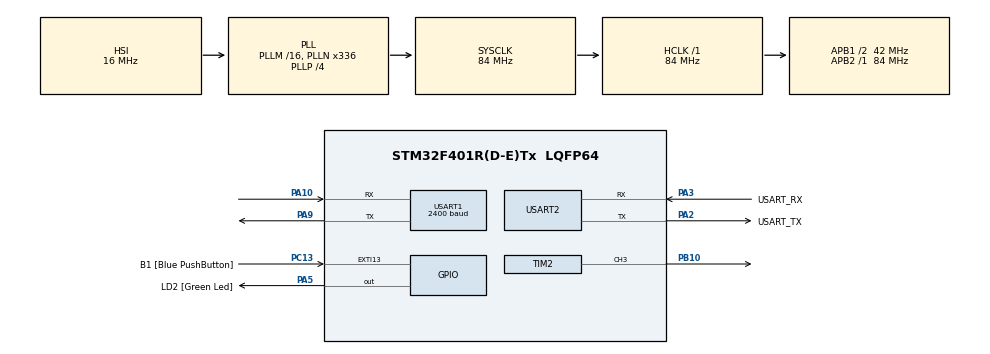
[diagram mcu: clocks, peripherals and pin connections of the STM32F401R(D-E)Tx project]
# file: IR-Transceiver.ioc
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Mcu.Family=STM32F4
Mcu.Name=STM32F401R(D-E)Tx
Mcu.Package=LQFP64
NVIC.PriorityGroup=NVIC_PRIORITYGROUP_0
NVIC.TIM1_TRG_COM_TIM11_IRQn=true\:0\:0\:false\:false\:true\:true\:true
NVIC.USART1_IRQn=true\:0\:0\:false\:false\:true\:true\:true
NVIC.USART2_IRQn=true\:0\:0\:false\:false\:true\:true\:true
PA10.Mode=Asynchronous
PA10.Signal=USART1_RX
PA13.GPIO_Label=TMS
PA13.Mode=Serial_Wire
PA13.Signal=SYS_JTMS-SWDIO
PA14.GPIO_Label=TCK
PA14.Mode=Serial_Wire
PA14.Signal=SYS_JTCK-SWCLK
PA2.GPIO_Label=USART_TX
PA2.GPIO_Mode=GPIO_MODE_AF_PP
PA2.GPIO_PuPd=GPIO_NOPULL
PA2.GPIO_Speed=GPIO_SPEED_FREQ_LOW
PA2.Mode=Asynchronous
PA2.Signal=USART2_TX
PA3.GPIO_Label=USART_RX
PA3.GPIO_Mode=GPIO_MODE_AF_PP
PA3.GPIO_PuPd=GPIO_NOPULL
PA3.GPIO_Speed=GPIO_SPEED_FREQ_LOW
PA3.Mode=Asynchronous
PA3.Signal=USART2_RX
PA5.GPIO_Label=LD2 [Green Led]
PA5.GPIO_Mode=GPIO_MODE_OUTPUT_PP
PA5.GPIO_PuPd=GPIO_NOPULL
PA5.GPIO_Speed=GPIO_SPEED_FREQ_LOW
PA5.Signal=GPIO_Output
PA9.Mode=Asynchronous
PA9.Signal=USART1_TX
PB10.Signal=S_TIM2_CH3
PB3.GPIO_Label=SWO
PB3.Signal=SYS_JTDO-SWO
PC13-ANTI_TAMP.GPIO_Label=B1 [Blue PushButton]
PC13-ANTI_TAMP.GPIO_ModeDefaultEXTI=GPIO_MODE_IT_FALLING
PC13-ANTI_TAMP.GPIO_PuPd=GPIO_NOPULL
PC13-ANTI_TAMP.Signal=GPXTI13
PC14-OSC32_IN.Mode=LSE-External-Oscillator
PC14-OSC32_IN.Signal=RCC_OSC32_IN
PC15-OSC32_OUT.Mode=LSE-External-Oscillator
PC15-OSC32_OUT.Signal=RCC_OSC32_OUT
PH0\ -\ OSC_IN.Mode=HSE-External-Clock-Source
PH0\ -\ OSC_IN.Signal=RCC_OSC_IN
PH1\ -\ OSC_OUT.Mode=HSE-External-Clock-Source
PH1\ -\ OSC_OUT.Signal=RCC_OSC_OUT
ProjectManager.HeapSize=0x200
ProjectManager.StackSize=0x400
ProjectManager.TargetToolchain=STM32CubeIDE
RCC.48MHZClocksFreq_Value=48000000
RCC.AHBFreq_Value=84000000
RCC.APB1CLKDivider=RCC_HCLK_DIV2
RCC.APB1Freq_Value=42000000
RCC.APB1TimFreq_Value=84000000
RCC.APB2Freq_Value=84000000
RCC.APB2TimFreq_Value=84000000
RCC.CortexFreq_Value=84000000
RCC.HCLKFreq_Value=84000000
RCC.HSE_VALUE=8000000
RCC.HSI_VALUE=16000000
RCC.PLLN=336
RCC.PLLP=RCC_PLLP_DIV4
RCC.PLLQ=7
RCC.SYSCLKFreq_VALUE=84000000
RCC.SYSCLKSource=RCC_SYSCLKSOURCE_PLLCLK
RCC.VCOOutputFreq_Value=336000000
SH.S_TIM2_CH3.0=TIM2_CH3,PWM Generation3 CH3
TIM11.Period=999
TIM11.Prescaler=34
TIM2.Channel-PWM\ Generation3\ CH3=TIM_CHANNEL_3
TIM2.Period=221-1
TIM2.Prescaler=10-1
TIM2.Pulse-PWM\ Generation3\ CH3=110-1
USART1.BaudRate=2400
USART1.VirtualMode=VM_ASYNC
USART2.VirtualMode=VM_ASYNC
VP_TIM11_VS_ClockSourceINT.Mode=Enable_Timer
VP_TIM2_VS_ClockSourceINT.Mode=Internal
board=NUCLEO-F401RE

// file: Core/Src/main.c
/* USER CODE BEGIN Header */
/**
 ******************************************************************************
 * @file           : main.c
 * @brief          : Transceiver for the infra red communication
 * RECEIVER:
 * - call HAL_UART_Receive_IT to enable to wait for a character
 * - when a char is received, the callback is called: here we start
 * the transmission to the UART connected to the PC
 *
 * TRANSMITTER:
 * > TIM2 channel 3: linked to the Infra-Red led; generates a modulated signal at 38kHz
 * > TIM11: used to follow the given baudrate (2400 Hz -> 2400 bit/s)
 * - start the TIM11 timer to start the transmission of chars
 * - for each byte:
 * 		. wait until the previous byte has been transmitted (wait for "sending" flag to be resetted)
 * 		. set the sending flag, set the bit index to -1
 * 		. following the baudrate, send the byte using the UART protocol:
 * 			* send start bit[modulated],
 * 			* for each bit, if it is low modulates, otherwise led stays down;
 * 			* sends the stop bit (led stays down);
 * 			* at the next cycle resets the "sending" flag;
 *
 ******************************************************************************
 * @attention
 *
 * <h2><center>&copy; Copyright (c) 2021 STMicroelectronics.
 * All rights reserved.</center></h2>
 *
 * This software component is licensed by ST under BSD 3-Clause license,
 * the "License"; You may not use this file except in compliance with the
 * License. You may obtain a copy of the License at:
 *                        opensource.org/licenses/BSD-3-Clause
 *
 ******************************************************************************
 */
/* USER CODE END Header */
#include "main.h"

/* USER CODE BEGIN Includes */
#include <string.h>
/* USER CODE END Includes */

TIM_HandleTypeDef htim2;
TIM_HandleTypeDef htim11;

UART_HandleTypeDef huart1;
UART_HandleTypeDef huart2;

/* USER CODE BEGIN PV */
//// TRANSMITTER PART
int iBit = 9; // starting in "don't send anything" mode
uint8_t byteToSend;
uint8_t sending = 0;
char *str = "Fare o non fare, non c'è provare\r\n";

//// RECEIVER PART
char data;
/* USER CODE END PV */

void SystemClock_Config(void);
static void MX_GPIO_Init(void);
static void MX_USART2_UART_Init(void);
static void MX_TIM2_Init(void);
static void MX_TIM11_Init(void);
static void MX_USART1_UART_Init(void);
/* USER CODE BEGIN PFP */
void sendString(char *str);
void sendByte(uint8_t byte);
/* USER CODE END PFP */

int main(void) {

	/* MCU Configuration--------------------------------------------------------*/

	/* Reset of all peripherals, Initializes the Flash interface and the Systick. */
	HAL_Init();

	/* Configure the system clock */
	SystemClock_Config();

	/* Initialize all configured peripherals */
	MX_GPIO_Init();
	MX_USART2_UART_Init();
	MX_TIM2_Init();
	MX_TIM11_Init();
	MX_USART1_UART_Init();
	/* USER CODE BEGIN 2 */
	// Rx: telling the uart to take the data received, store it and call the callback
	HAL_UART_Receive_IT(&huart1, &data, 1);

	// Tx: Starting the timer in order to send the data at the given baudrate
	HAL_TIM_Base_Start_IT(&htim11);
	/* USER CODE END 2 */

	/* Infinite loop */
	/* USER CODE BEGIN WHILE */
	while (1) {
		sendString(str);
		HAL_Delay(500);
		/* USER CODE END WHILE */

	}
}

void SystemClock_Config(void) {
	RCC_OscInitTypeDef RCC_OscInitStruct = { 0 };
	RCC_ClkInitTypeDef RCC_ClkInitStruct = { 0 };

	/** Configure the main internal regulator output voltage
	 */
	__HAL_RCC_PWR_CLK_ENABLE();
	__HAL_PWR_VOLTAGESCALING_CONFIG(PWR_REGULATOR_VOLTAGE_SCALE2);
	/** Initializes the RCC Oscillators according to the specified parameters
	 * in the RCC_OscInitTypeDef structure.
	 */
	RCC_OscInitStruct.OscillatorType = RCC_OSCILLATORTYPE_HSI;
	RCC_OscInitStruct.HSIState = RCC_HSI_ON;
	RCC_OscInitStruct.HSICalibrationValue = RCC_HSICALIBRATION_DEFAULT;
	RCC_OscInitStruct.PLL.PLLState = RCC_PLL_ON;
	RCC_OscInitStruct.PLL.PLLSource = RCC_PLLSOURCE_HSI;
	RCC_OscInitStruct.PLL.PLLM = 16;
	RCC_OscInitStruct.PLL.PLLN = 336;
	RCC_OscInitStruct.PLL.PLLP = RCC_PLLP_DIV4;
	RCC_OscInitStruct.PLL.PLLQ = 7;
	if (HAL_RCC_OscConfig(&RCC_OscInitStruct) != HAL_OK) {
		Error_Handler();
	}
	/** Initializes the CPU, AHB and APB buses clocks
	 */
	RCC_ClkInitStruct.ClockType = RCC_CLOCKTYPE_HCLK | RCC_CLOCKTYPE_SYSCLK
			| RCC_CLOCKTYPE_PCLK1 | RCC_CLOCKTYPE_PCLK2;
	RCC_ClkInitStruct.SYSCLKSource = RCC_SYSCLKSOURCE_PLLCLK;
	RCC_ClkInitStruct.AHBCLKDivider = RCC_SYSCLK_DIV1;
	RCC_ClkInitStruct.APB1CLKDivider = RCC_HCLK_DIV2;
	RCC_ClkInitStruct.APB2CLKDivider = RCC_HCLK_DIV1;

	if (HAL_RCC_ClockConfig(&RCC_ClkInitStruct, FLASH_LATENCY_2) != HAL_OK) {
		Error_Handler();
	}
}

static void MX_TIM2_Init(void) {

	TIM_ClockConfigTypeDef sClockSourceConfig = { 0 };
	TIM_MasterConfigTypeDef sMasterConfig = { 0 };
	TIM_OC_InitTypeDef sConfigOC = { 0 };

	htim2.Instance = TIM2;
	htim2.Init.Prescaler = 10 - 1;
	htim2.Init.CounterMode = TIM_COUNTERMODE_UP;
	htim2.Init.Period = 221 - 1;
	htim2.Init.ClockDivision = TIM_CLOCKDIVISION_DIV1;
	htim2.Init.AutoReloadPreload = TIM_AUTORELOAD_PRELOAD_DISABLE;
	if (HAL_TIM_Base_Init(&htim2) != HAL_OK) {
		Error_Handler();
	}
	sClockSourceConfig.ClockSource = TIM_CLOCKSOURCE_INTERNAL;
	if (HAL_TIM_ConfigClockSource(&htim2, &sClockSourceConfig) != HAL_OK) {
		Error_Handler();
	}
	if (HAL_TIM_PWM_Init(&htim2) != HAL_OK) {
		Error_Handler();
	}
	sMasterConfig.MasterOutputTrigger = TIM_TRGO_RESET;
	sMasterConfig.MasterSlaveMode = TIM_MASTERSLAVEMODE_DISABLE;
	if (HAL_TIMEx_MasterConfigSynchronization(&htim2, &sMasterConfig)
			!= HAL_OK) {
		Error_Handler();
	}
	sConfigOC.OCMode = TIM_OCMODE_PWM1;
	sConfigOC.Pulse = 110 - 1;
	sConfigOC.OCPolarity = TIM_OCPOLARITY_HIGH;
	sConfigOC.OCFastMode = TIM_OCFAST_DISABLE;
	if (HAL_TIM_PWM_ConfigChannel(&htim2, &sConfigOC, TIM_CHANNEL_3)
			!= HAL_OK) {
		Error_Handler();
	}
	HAL_TIM_MspPostInit(&htim2);

}

static void MX_TIM11_Init(void) {

	htim11.Instance = TIM11;
	htim11.Init.Prescaler = 34;
	htim11.Init.CounterMode = TIM_COUNTERMODE_UP;
	htim11.Init.Period = 999;
	htim11.Init.ClockDivision = TIM_CLOCKDIVISION_DIV1;
	htim11.Init.AutoReloadPreload = TIM_AUTORELOAD_PRELOAD_DISABLE;
	if (HAL_TIM_Base_Init(&htim11) != HAL_OK) {
		Error_Handler();
	}

}

static void MX_USART1_UART_Init(void) {

	huart1.Instance = USART1;
	huart1.Init.BaudRate = 2400;
	huart1.Init.WordLength = UART_WORDLENGTH_8B;
	huart1.Init.StopBits = UART_STOPBITS_1;
	huart1.Init.Parity = UART_PARITY_NONE;
	huart1.Init.Mode = UART_MODE_TX_RX;
	huart1.Init.HwFlowCtl = UART_HWCONTROL_NONE;
	huart1.Init.OverSampling = UART_OVERSAMPLING_16;
	if (HAL_UART_Init(&huart1) != HAL_OK) {
		Error_Handler();
	}

}

static void MX_USART2_UART_Init(void) {

	huart2.Instance = USART2;
	huart2.Init.BaudRate = 115200;
	huart2.Init.WordLength = UART_WORDLENGTH_8B;
	huart2.Init.StopBits = UART_STOPBITS_1;
	huart2.Init.Parity = UART_PARITY_NONE;
	huart2.Init.Mode = UART_MODE_TX_RX;
	huart2.Init.HwFlowCtl = UART_HWCONTROL_NONE;
	huart2.Init.OverSampling = UART_OVERSAMPLING_16;
	if (HAL_UART_Init(&huart2) != HAL_OK) {
		Error_Handler();
	}

}

static void MX_GPIO_Init(void) {
	GPIO_InitTypeDef GPIO_InitStruct = { 0 };

	/* GPIO Ports Clock Enable */
	__HAL_RCC_GPIOC_CLK_ENABLE();
	__HAL_RCC_GPIOH_CLK_ENABLE();
	__HAL_RCC_GPIOA_CLK_ENABLE();
	__HAL_RCC_GPIOB_CLK_ENABLE();

	/*Configure GPIO pin Output Level */
	HAL_GPIO_WritePin(LD2_GPIO_Port, LD2_Pin, GPIO_PIN_RESET);

	/*Configure GPIO pin : B1_Pin */
	GPIO_InitStruct.Pin = B1_Pin;
	GPIO_InitStruct.Mode = GPIO_MODE_IT_FALLING;
	GPIO_InitStruct.Pull = GPIO_NOPULL;
	HAL_GPIO_Init(B1_GPIO_Port, &GPIO_InitStruct);

	/*Configure GPIO pin : LD2_Pin */
	GPIO_InitStruct.Pin = LD2_Pin;
	GPIO_InitStruct.Mode = GPIO_MODE_OUTPUT_PP;
	GPIO_InitStruct.Pull = GPIO_NOPULL;
	GPIO_InitStruct.Speed = GPIO_SPEED_FREQ_LOW;
	HAL_GPIO_Init(LD2_GPIO_Port, &GPIO_InitStruct);

}

/* USER CODE BEGIN 4 */
/**
 * @brief Tx: calls the sendByte function for each char of the string
 */
void sendString(char *str) {
	for (int i = 0; i < strlen(str); i++) {
		sendByte(str[i]);
	}
}

/**
 * @brief Tx: waits until the previous byte is sent;
 * then sets the new byte to send, resets the index to read the bit and
 * sets the flag "sending" to true
 */
void sendByte(uint8_t byte) {
	// wait to finish the sending of the previous byte
	while (sending)
		;

	// set next byte to send and "start" the sending
	byteToSend = byte;
	iBit = -1;
	sending = 1;
}

/**
 * @brief implements the UART protocol:
 * - sends the start bit (modulates);
 * - for each bit, if it is low modulates, otherwise led stays down;
 * - sends the stop bit (led stays down);
 * - at the next cycle resets the "sending" flag;
 */
void HAL_TIM_PeriodElapsedCallback(TIM_HandleTypeDef *htim) {
	if (htim == &htim11) {
		if (iBit == -1) {
			// START BIT
			HAL_TIM_PWM_Start(&htim2, TIM_CHANNEL_3);
		} else if (iBit < 8) {
			// SENDING BYTE
			if (byteToSend & (1 << iBit)) {
				// if bit is 1, do not modulate [stay on zero]
				HAL_TIM_PWM_Stop(&htim2, TIM_CHANNEL_3);
			} else {
				// if bit is 0, modulate
				HAL_TIM_PWM_Start(&htim2, TIM_CHANNEL_3);
			}
		} else if (iBit == 8) {
			// STOP BIT
			HAL_TIM_PWM_Stop(&htim2, TIM_CHANNEL_3);
		} else {
			sending = 0;
			return;
		}

		iBit++;
	}
}

//// RECEIVER PART
/**
 * @brief transmit the received char to the UART connected to the PC
 */
void HAL_UART_RxCpltCallback(UART_HandleTypeDef *huart) {
	if (huart == &huart1) {
		HAL_UART_Transmit_IT(&huart2, &data, 1);
	}
}

/**
 * @brief once the transmit is completed, tell to the timer
 * to wait for another char
 */
void HAL_UART_TxCpltCallback(UART_HandleTypeDef *huart) {
	if (huart == &huart2) {
		HAL_UART_Receive_IT(&huart1, &data, 1);
	}
}
/* USER CODE END 4 */

void Error_Handler(void) {
	__disable_irq();
	while (1) {
	}
}

/************************ (C) COPYRIGHT STMicroelectronics *****END OF FILE****/
